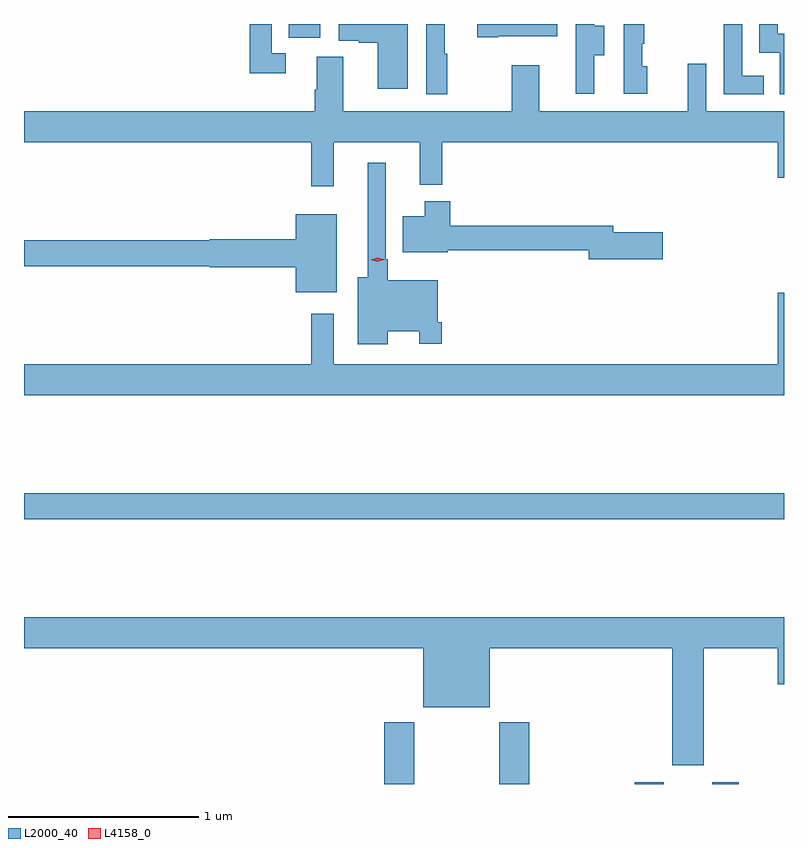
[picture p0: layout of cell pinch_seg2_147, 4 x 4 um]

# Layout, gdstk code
import gdstk
lib = gdstk.Library(unit=1e-6, precision=1e-09)
def R(c, l, rs):  # rectangles x0, y0, x1, y1
    for r in rs: c.add(gdstk.rectangle(r[:2], r[2:], *l))
def P(c, l, *ps):  # polygons
    for p in ps: c.add(gdstk.Polygon(p, *l))
L2000_40 = (2000, 40)
L4158_0 = (4158, 0)

pinch_seg2_147 = lib.new_cell('pinch_seg2_147')
R(pinch_seg2_147, L2000_40, [(1097.999,629.606,1098.159,629.932), (1098.604,629.606,1098.764,629.932), (1099.319,629.606,1099.471,629.614), (1099.727,629.606,1099.867,629.614), (1096.104,631,1100.104,631.136), (1097.498,633.534,1097.662,633.606)])
P(pinch_seg2_147, L2000_40, [(1099.105,633.442),(1099.159,633.442),(1099.159,633.597),(1099.104,633.597),(1099.104,633.606),(1099.008,633.606),(1099.008,633.453),(1099.007,633.453),(1099.007,633.24),(1099.105,633.24)],
  [(1097.482,633.453),(1097.409,633.453),(1097.409,633.606),(1097.293,633.606),(1097.293,633.348),(1097.482,633.348)],
  [(1098.601,633.542),(1098.911,633.542),(1098.911,633.606),(1098.489,633.606),(1098.489,633.535),(1098.601,633.535)],
  [(1099.384,633.384),(1099.359,633.384),(1099.359,633.503),(1099.369,633.503),(1099.369,633.606),(1099.26,633.606),(1099.26,633.24),(1099.384,633.24)],
  [(1099.997,633.333),(1099.884,633.333),(1099.884,633.606),(1099.788,633.606),(1099.788,633.237),(1099.997,633.237)],
  [(1098.331,633.449),(1098.319,633.449),(1098.319,633.606),(1098.222,633.606),(1098.222,633.237),(1098.331,633.237)],
  [(1100.104,633.554),(1100.07,633.554),(1100.07,633.606),(1099.974,633.606),(1099.974,633.456),(1100.082,633.456),(1100.082,633.237),(1100.104,633.237)],
  [(1098.124,633.606),(1097.76,633.606),(1097.76,633.519),(1097.867,633.519),(1097.867,633.507),(1097.966,633.507),(1097.966,633.264),(1098.124,633.264)],
  [(1097.735,632.984),(1098.188,632.984),(1098.188,632.759),(1098.305,632.759),(1098.305,632.984),(1100.072,632.984),(1100.072,632.796),(1100.104,632.796),(1100.104,633.148),(1099.695,633.148),(1099.695,633.397),(1099.598,633.397),(1099.598,633.148),(1098.817,633.148),(1098.817,633.388),(1098.67,633.388),(1098.67,633.148),(1097.785,633.148),(1097.785,633.434),(1097.645,633.434),(1097.645,633.26),(1097.633,633.26),(1097.633,633.148),(1096.104,633.148),(1096.104,632.984),(1097.617,632.984),(1097.617,632.751),(1097.735,632.751)],
  [(1098.019,631.988),(1098.185,631.988),(1098.185,631.923),(1098.302,631.923),(1098.302,632.035),(1098.282,632.035),(1098.282,632.257),(1098.019,632.257),(1098.019,632.368),(1098.009,632.368),(1098.009,632.875),(1097.912,632.875),(1097.912,632.272),(1097.861,632.272),(1097.861,631.92),(1098.019,631.92)],
  [(1099.465,632.511),(1099.204,632.511),(1099.204,632.545),(1098.347,632.545),(1098.347,632.674),(1098.212,632.674),(1098.212,632.593),(1098.098,632.593),(1098.098,632.405),(1098.334,632.405),(1098.334,632.416),(1099.076,632.416),(1099.076,632.369),(1099.465,632.369)],
  [(1097.749,632.605),(1097.534,632.605),(1097.534,632.474),(1097.082,632.474),(1097.082,632.468),(1096.104,632.468),(1096.104,632.332),(1097.082,632.332),(1097.082,632.327),(1097.534,632.327),(1097.534,632.195),(1097.749,632.195)],
  [(1100.104,632.191),(1100.072,632.191),(1100.072,631.816),(1097.733,631.816),(1097.733,632.08),(1097.617,632.08),(1097.617,631.816),(1096.104,631.816),(1096.104,631.652),(1100.104,631.652)],
  [(1099.681,630.32),(1100.072,630.32),(1100.072,630.132),(1100.104,630.132),(1100.104,630.484),(1096.104,630.484),(1096.104,630.32),(1098.206,630.32),(1098.206,630.011),(1098.556,630.011),(1098.556,630.32),(1099.517,630.32),(1099.517,629.706),(1099.681,629.706)])
P(pinch_seg2_147, L4158_0, [(1097.964,632.356),(1097.928,632.366),(1097.927,632.366),(1097.928,632.366),(1097.964,632.376),(1098,632.367),(1098,632.366),(1098,632.366)])

lib.write_gds('pinch_seg2_147.gds')
